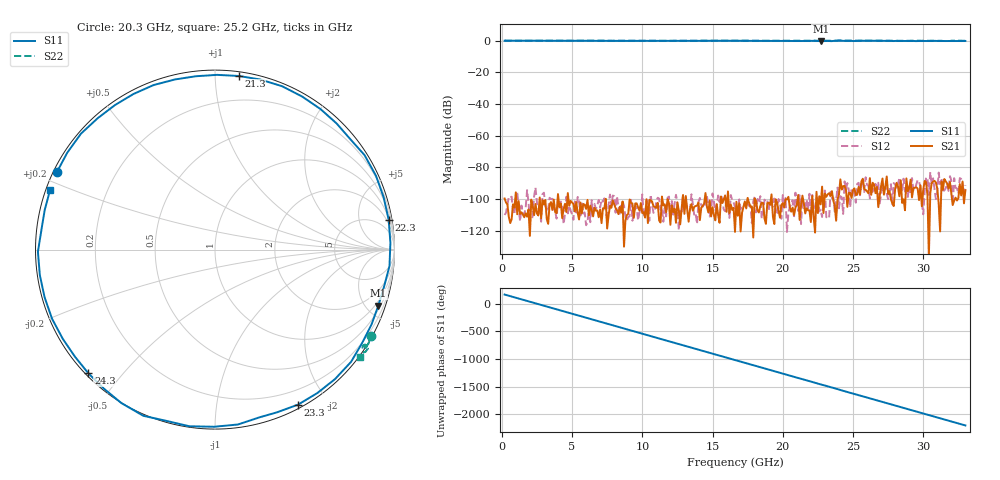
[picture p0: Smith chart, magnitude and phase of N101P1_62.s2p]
# GHZ S RI R 50
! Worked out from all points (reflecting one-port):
!   329 points, 200 MHz to 33 GHz, reference 50 ohm
!   lowest |S11| = -0.3 dB at 22.7 GHz (marker M1), VSWR 51.79, Z = 35.2 - j296 ohm
!   phase of S11 starts at 165 deg and turns -2367 deg over the sweep
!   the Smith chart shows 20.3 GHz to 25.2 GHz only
!   S11 on the Smith chart (normalised r, x): 20.3 GHz: 0.01, +0.23; 21.3 GHz: 0.03, +1.14; 22.3 GHz: 1, +12; 23.3 GHz: 0.04, -1.67; 24.3 GHz: 0.01, -0.41; 25.2 GHz: 0.01, +0.18
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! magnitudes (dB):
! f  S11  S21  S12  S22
! 200 MHz  0.0  -99.7  -110.2  0.0
! 5.7 GHz  -0.1  -109.1  -101.5  0.0
! 11.2 GHz  -0.1  -113.7  -99.8  0.0
! 16.6 GHz  -0.1  -120.8  -104.9  0.0
! 20.3 GHz  -0.2  -100.4  -120.9  -0.1
! 21.3 GHz  -0.2  -104.1  -115.9  0.0
! 22.1 GHz  -0.1  -98.1  -97.5  0.0
! 22.3 GHz  -0.2  -121.3  -105.9  0.0
! 22.7 GHz  -0.3  -103.4  -106.8  -0.1
! 23 GHz  -0.2  -96.6  -94.7  0.0
! 23.3 GHz  -0.2  -96.4  -112.0  0.0
! 23.5 GHz  -0.3  -95.1  -99.5  -0.2
! 24 GHz  0.1  -97.3  -105.9  0.1
! 24.3 GHz  -0.1  -91.9  -109.5  0.0
! 25.2 GHz  -0.2  -97.6  -102.4  0.0
! 25.7 GHz  -0.1  -87.3  -88.8  0.0
! 27.6 GHz  -0.1  -95.1  -94.9  0.0
! 29.5 GHz  -0.3  -92.6  -91.2  -0.1
! 31.2 GHz  -0.2  -120.6  -90.8  0.0
! 31.8 GHz  -0.3  -93.5  -95.0  -0.3
! 32.1 GHz  -0.2  -103.9  -103.2  0.0
! 33 GHz  -0.2  -94.5  -91.3  -0.1
